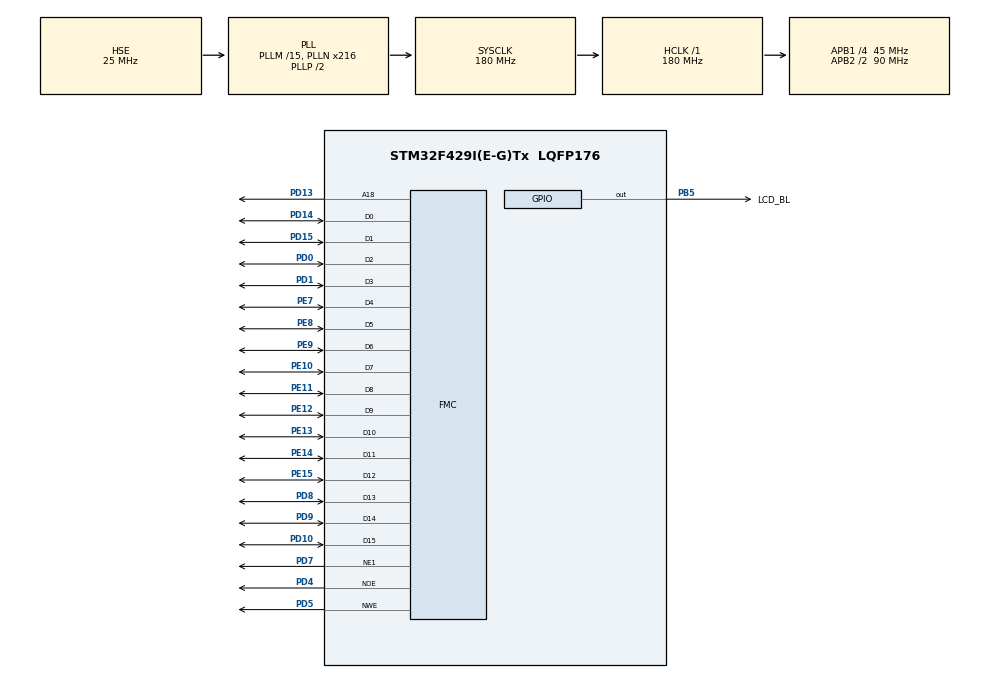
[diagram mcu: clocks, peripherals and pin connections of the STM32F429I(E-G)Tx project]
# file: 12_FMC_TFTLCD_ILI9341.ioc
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FMC.BusTurnAroundDuration1=0
FMC.DataSetupTime1=70
FMC.ExtendedDataSetupTime1=15
FMC.ExtendedMode1=FMC_EXTENDED_MODE_ENABLE
Mcu.Family=STM32F4
Mcu.Name=STM32F429I(E-G)Tx
Mcu.Package=LQFP176
NVIC.PriorityGroup=NVIC_PRIORITYGROUP_4
PA13.Mode=Trace_Asynchronous_SW
PA13.Signal=SYS_JTMS-SWDIO
PA14.Mode=Trace_Asynchronous_SW
PA14.Signal=SYS_JTCK-SWCLK
PB3.Mode=Trace_Asynchronous_SW
PB3.Signal=SYS_JTDO-SWO
PB5.GPIO_Label=LCD_BL
PB5.GPIO_PuPd=GPIO_PULLUP
PB5.GPIO_Speed=GPIO_SPEED_FREQ_HIGH
PB5.PinState=GPIO_PIN_SET
PB5.Signal=GPIO_Output
PC14/OSC32_IN.Mode=LSE-External-Oscillator
PC14/OSC32_IN.Signal=RCC_OSC32_IN
PC15/OSC32_OUT.Mode=LSE-External-Oscillator
PC15/OSC32_OUT.Signal=RCC_OSC32_OUT
PD0.GPIO_PuPd=GPIO_PULLUP
PD0.Signal=FMC_D2_DA2
PD1.GPIO_PuPd=GPIO_PULLUP
PD1.Signal=FMC_D3_DA3
PD10.GPIO_PuPd=GPIO_PULLUP
PD10.Signal=FMC_D15_DA15
PD13.GPIO_PuPd=GPIO_PULLUP
PD13.Signal=FMC_A18
PD14.GPIO_PuPd=GPIO_PULLUP
PD14.Signal=FMC_D0_DA0
PD15.GPIO_PuPd=GPIO_PULLUP
PD15.Signal=FMC_D1_DA1
PD4.GPIO_PuPd=GPIO_PULLUP
PD4.Signal=FMC_NOE
PD5.GPIO_PuPd=GPIO_PULLUP
PD5.Signal=FMC_NWE
PD7.GPIO_PuPd=GPIO_PULLUP
PD7.Mode=NorPsramChipSelect1_1
PD7.Signal=FMC_NE1
PD8.GPIO_PuPd=GPIO_PULLUP
PD8.Signal=FMC_D13_DA13
PD9.GPIO_PuPd=GPIO_PULLUP
PD9.Signal=FMC_D14_DA14
PE10.GPIO_PuPd=GPIO_PULLUP
PE10.Signal=FMC_D7_DA7
PE11.GPIO_PuPd=GPIO_PULLUP
PE11.Signal=FMC_D8_DA8
PE12.GPIO_PuPd=GPIO_PULLUP
PE12.Signal=FMC_D9_DA9
PE13.GPIO_PuPd=GPIO_PULLUP
PE13.Signal=FMC_D10_DA10
PE14.GPIO_PuPd=GPIO_PULLUP
PE14.Signal=FMC_D11_DA11
PE15.GPIO_PuPd=GPIO_PULLUP
PE15.Signal=FMC_D12_DA12
PE7.GPIO_PuPd=GPIO_PULLUP
PE7.Signal=FMC_D4_DA4
PE8.GPIO_PuPd=GPIO_PULLUP
PE8.Signal=FMC_D5_DA5
PE9.GPIO_PuPd=GPIO_PULLUP
PE9.Signal=FMC_D6_DA6
PH0/OSC_IN.Mode=HSE-External-Oscillator
PH0/OSC_IN.Signal=RCC_OSC_IN
PH1/OSC_OUT.Mode=HSE-External-Oscillator
PH1/OSC_OUT.Signal=RCC_OSC_OUT
ProjectManager.HeapSize=0x200
ProjectManager.StackSize=0x400
ProjectManager.TargetToolchain=STM32CubeIDE
RCC.48MHZClocksFreq_Value=90000000
RCC.AHBFreq_Value=180000000
RCC.APB1CLKDivider=RCC_HCLK_DIV4
RCC.APB1Freq_Value=45000000
RCC.APB1TimFreq_Value=90000000
RCC.APB2CLKDivider=RCC_HCLK_DIV2
RCC.APB2Freq_Value=90000000
RCC.APB2TimFreq_Value=180000000
RCC.CortexFreq_Value=180000000
RCC.HCLKFreq_Value=180000000
RCC.HSE_VALUE=25000000
RCC.HSI_VALUE=16000000
RCC.PLLM=15
RCC.PLLN=216
RCC.PLLSourceVirtual=RCC_PLLSOURCE_HSE
RCC.SYSCLKFreq_VALUE=180000000
RCC.SYSCLKSource=RCC_SYSCLKSOURCE_PLLCLK
RCC.VCOOutputFreq_Value=360000000
SH.FMC_A18.0=FMC_A18,A18_1
SH.FMC_D0_DA0.0=FMC_D0,16b-d1
SH.FMC_D10_DA10.0=FMC_D10,16b-d1
SH.FMC_D11_DA11.0=FMC_D11,16b-d1
SH.FMC_D12_DA12.0=FMC_D12,16b-d1
SH.FMC_D13_DA13.0=FMC_D13,16b-d1
SH.FMC_D14_DA14.0=FMC_D14,16b-d1
SH.FMC_D15_DA15.0=FMC_D15,16b-d1
SH.FMC_D1_DA1.0=FMC_D1,16b-d1
SH.FMC_D2_DA2.0=FMC_D2,16b-d1
SH.FMC_D3_DA3.0=FMC_D3,16b-d1
SH.FMC_D4_DA4.0=FMC_D4,16b-d1
SH.FMC_D5_DA5.0=FMC_D5,16b-d1
SH.FMC_D6_DA6.0=FMC_D6,16b-d1
SH.FMC_D7_DA7.0=FMC_D7,16b-d1
SH.FMC_D8_DA8.0=FMC_D8,16b-d1
SH.FMC_D9_DA9.0=FMC_D9,16b-d1
SH.FMC_NOE.0=FMC_NOE,Lcd1
SH.FMC_NWE.0=FMC_NWE,Lcd1
board=custom

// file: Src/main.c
/* USER CODE BEGIN Header */
/**
 ******************************************************************************
 * @file           : main.c
 * @brief          : Main program body
 ******************************************************************************
 * @attention
 *
 * <h2><center>&copy; Copyright (c) 2019 STMicroelectronics.
 * All rights reserved.</center></h2>
 *
 * This software component is licensed by ST under BSD 3-Clause license,
 * the "License"; You may not use this file except in compliance with the
 * License. You may obtain a copy of the License at:
 *                        opensource.org/licenses/BSD-3-Clause
 *
 ******************************************************************************
 */
/* USER CODE END Header */

#include "main.h"
#include "gpio.h"
#include "fmc.h"

/* USER CODE BEGIN Includes */
#include <stdio.h>
#include "FMC_9341.h"
/* USER CODE END Includes */

void SystemClock_Config(void);

int main(void)
{

  /* MCU Configuration--------------------------------------------------------*/

  /* Reset of all peripherals, Initializes the Flash interface and the Systick. */
  HAL_Init();

  /* Configure the system clock */
  SystemClock_Config();

  /* Initialize all configured peripherals */
  MX_GPIO_Init();
  MX_FMC_Init();
  /* USER CODE BEGIN 2 */
    printf ("Start\r\n");
    LCD_Init ();

    LCD_Clear(WHITE);
    HAL_Delay(1000);
    LCD_Clear(BLUE);
    HAL_Delay(1000);
    LCD_Clear(YELLOW);
    HAL_Delay(1000);
    LCD_Clear(RED);
    HAL_Delay(1000);
  /* USER CODE END 2 */

  /* Infinite loop */
    while (1)
    {

    }
}

void SystemClock_Config(void)
{
  RCC_OscInitTypeDef RCC_OscInitStruct = {0};
  RCC_ClkInitTypeDef RCC_ClkInitStruct = {0};

  /** Configure the main internal regulator output voltage
  */
  __HAL_RCC_PWR_CLK_ENABLE();
  __HAL_PWR_VOLTAGESCALING_CONFIG(PWR_REGULATOR_VOLTAGE_SCALE1);
  /** Initializes the CPU, AHB and APB busses clocks
  */
  RCC_OscInitStruct.OscillatorType = RCC_OSCILLATORTYPE_HSE;
  RCC_OscInitStruct.HSEState = RCC_HSE_ON;
  RCC_OscInitStruct.PLL.PLLState = RCC_PLL_ON;
  RCC_OscInitStruct.PLL.PLLSource = RCC_PLLSOURCE_HSE;
  RCC_OscInitStruct.PLL.PLLM = 15;
  RCC_OscInitStruct.PLL.PLLN = 216;
  RCC_OscInitStruct.PLL.PLLP = RCC_PLLP_DIV2;
  RCC_OscInitStruct.PLL.PLLQ = 4;
  if (HAL_RCC_OscConfig(&RCC_OscInitStruct) != HAL_OK)
  {
    Error_Handler();
  }
  /** Activate the Over-Drive mode
  */
  if (HAL_PWREx_EnableOverDrive() != HAL_OK)
  {
    Error_Handler();
  }
  /** Initializes the CPU, AHB and APB busses clocks
  */
  RCC_ClkInitStruct.ClockType = RCC_CLOCKTYPE_HCLK|RCC_CLOCKTYPE_SYSCLK
                              |RCC_CLOCKTYPE_PCLK1|RCC_CLOCKTYPE_PCLK2;
  RCC_ClkInitStruct.SYSCLKSource = RCC_SYSCLKSOURCE_PLLCLK;
  RCC_ClkInitStruct.AHBCLKDivider = RCC_SYSCLK_DIV1;
  RCC_ClkInitStruct.APB1CLKDivider = RCC_HCLK_DIV4;
  RCC_ClkInitStruct.APB2CLKDivider = RCC_HCLK_DIV2;

  if (HAL_RCC_ClockConfig(&RCC_ClkInitStruct, FLASH_LATENCY_5) != HAL_OK)
  {
    Error_Handler();
  }
}

/* USER CODE BEGIN 4 */

int _write (int file,char*ptr,int len)
{
    int DataIdx;
    for (DataIdx = 0; DataIdx < len; DataIdx++)
    {
	ITM_SendChar (*ptr++);
    }
    return len;
}

/* USER CODE END 4 */

void Error_Handler(void)
{
}

/************************ (C) COPYRIGHT STMicroelectronics *****END OF FILE****/
